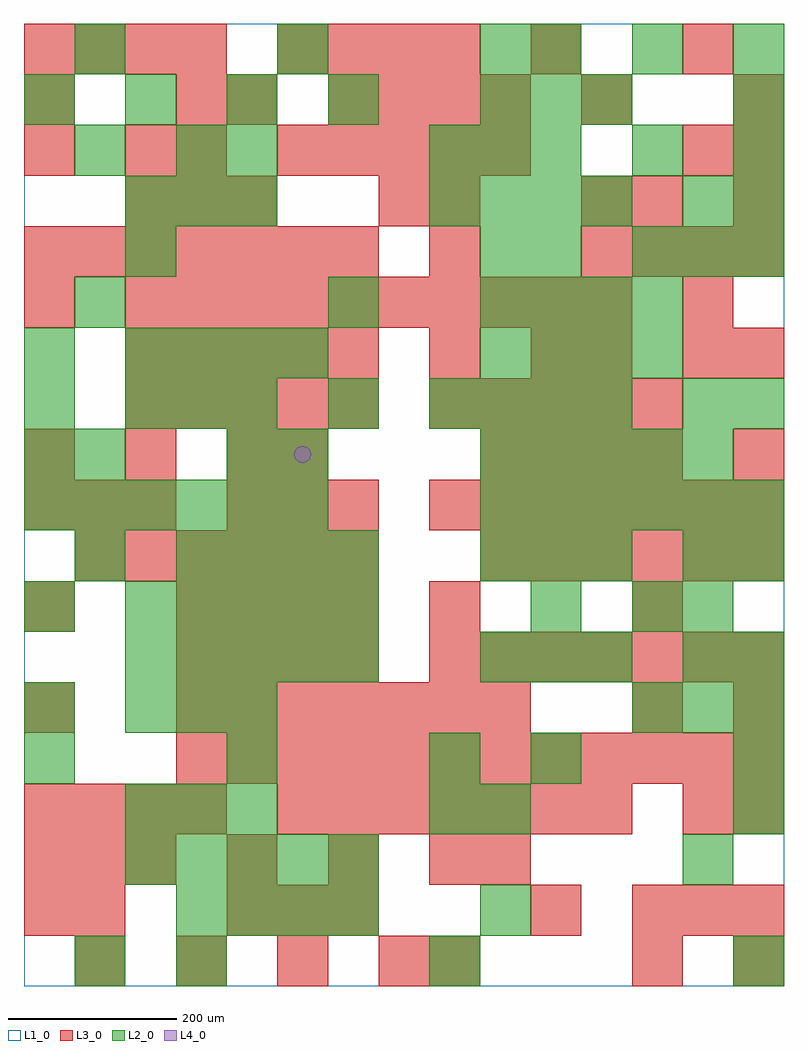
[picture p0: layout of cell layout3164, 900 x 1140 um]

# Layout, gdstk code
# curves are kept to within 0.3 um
import gdstk
lib = gdstk.Library(unit=1e-6, precision=1e-09)
def R(c, l, rs):  # rectangles x0, y0, x1, y1
    for r in rs: c.add(gdstk.rectangle(r[:2], r[2:], *l))
def A(c, l, x, y, w, h, nx, ny, dx, dy):  # array of equal rectangles
    R(c, l, [(x+i*dx, y+j*dy, x+i*dx+w, y+j*dy+h) for i in range(nx) for j in range(ny)])
def P(c, l, *ps):  # polygons
    for p in ps: c.add(gdstk.Polygon(p, *l))
L1_0 = (1, 0)
L2_0 = (2, 0)
L3_0 = (3, 0)
L4_0 = (4, 0)

layout3164 = lib.new_cell('layout3164')
R(layout3164, L1_0, [(0,0,900,1140)])
A(layout3164, L2_0, 180, 60, 60, 60, 4, 2, 60, 420)
A(layout3164, L2_0, 120, 120, 60, 60, 5, 2, 60, 240)
A(layout3164, L2_0, 120, 180, 60, 60, 3, 2, 60, 120)
A(layout3164, L2_0, 0, 240, 60, 60, 3, 1, 240, 0)
A(layout3164, L2_0, 840, 240, 60, 60, 1, 3, 0, 120)
A(layout3164, L2_0, 720, 300, 60, 60, 3, 2, 60, 540)
A(layout3164, L2_0, 540, 360, 60, 60, 3, 2, 60, 120)
A(layout3164, L2_0, 780, 360, 60, 60, 1, 3, 0, 60)
A(layout3164, L2_0, 120, 420, 60, 60, 5, 1, 60, 0)
A(layout3164, L2_0, 0, 540, 60, 60, 6, 1, 60, 0)
A(layout3164, L2_0, 540, 540, 60, 60, 6, 1, 60, 0)
A(layout3164, L2_0, 0, 600, 60, 60, 1, 3, 0, 60)
A(layout3164, L2_0, 60, 600, 60, 60, 1, 3, 0, 180)
A(layout3164, L2_0, 540, 600, 60, 60, 5, 1, 60, 0)
A(layout3164, L2_0, 120, 660, 60, 60, 3, 2, 60, 240)
A(layout3164, L2_0, 480, 660, 60, 60, 4, 2, 60, 240)
A(layout3164, L2_0, 120, 720, 60, 60, 4, 1, 60, 0)
A(layout3164, L2_0, 540, 720, 60, 60, 4, 2, 60, 60)
A(layout3164, L2_0, 840, 900, 60, 60, 1, 3, 0, 60)
A(layout3164, L2_0, 480, 960, 60, 60, 3, 1, 60, 0)
A(layout3164, L2_0, 0, 1020, 60, 60, 4, 1, 120, 0)
A(layout3164, L2_0, 540, 1020, 60, 60, 3, 1, 60, 0)
A(layout3164, L2_0, 60, 1080, 60, 60, 3, 1, 240, 0)
A(layout3164, L2_0, 600, 1080, 60, 60, 3, 1, 120, 0)
R(layout3164, L2_0, [(60,0,120,60), (180,0,240,60), (480,0,540,60), (840,0,900,60), (540,60,600,120), (780,120,840,180), (480,180,540,240), (540,180,600,240), (840,180,900,240), (600,240,660,300), (0,300,60,360), (0,420,60,480), (600,420,660,480), (720,420,780,480), (60,480,120,540), (240,600,300,660), (300,600,360,660), (360,660,420,720), (780,660,840,720), (840,660,900,720), (360,780,420,840), (120,840,180,900), (540,840,600,900), (600,840,660,900), (780,900,840,960), (180,960,240,1020), (240,960,300,1020), (720,960,780,1020)])
A(layout3164, L3_0, 60, 0, 60, 60, 4, 1, 120, 0)
A(layout3164, L3_0, 240, 60, 60, 60, 3, 2, 60, 480)
A(layout3164, L3_0, 720, 60, 60, 60, 3, 1, 60, 0)
A(layout3164, L3_0, 0, 120, 60, 60, 3, 2, 60, 420)
A(layout3164, L3_0, 240, 120, 60, 60, 3, 1, 120, 0)
A(layout3164, L3_0, 0, 180, 60, 60, 4, 2, 60, 900)
A(layout3164, L3_0, 300, 180, 60, 60, 7, 1, 60, 0)
A(layout3164, L3_0, 180, 240, 60, 60, 12, 1, 60, 0)
A(layout3164, L3_0, 180, 300, 60, 60, 7, 1, 60, 0)
A(layout3164, L3_0, 180, 360, 60, 60, 4, 2, 60, 60)
A(layout3164, L3_0, 480, 360, 60, 60, 7, 2, 60, 180)
A(layout3164, L3_0, 60, 480, 60, 60, 6, 1, 60, 0)
A(layout3164, L3_0, 540, 480, 60, 60, 6, 1, 60, 0)
A(layout3164, L3_0, 0, 600, 60, 60, 3, 1, 120, 0)
A(layout3164, L3_0, 540, 600, 60, 60, 4, 1, 60, 0)
A(layout3164, L3_0, 120, 660, 60, 60, 5, 2, 60, 60)
A(layout3164, L3_0, 480, 660, 60, 60, 5, 1, 60, 0)
A(layout3164, L3_0, 120, 780, 60, 60, 10, 1, 60, 0)
A(layout3164, L3_0, 0, 840, 60, 60, 7, 1, 60, 0)
A(layout3164, L3_0, 660, 840, 60, 60, 4, 1, 60, 0)
A(layout3164, L3_0, 120, 900, 60, 60, 3, 1, 60, 0)
A(layout3164, L3_0, 840, 900, 60, 60, 1, 3, 0, 60)
A(layout3164, L3_0, 300, 960, 60, 60, 5, 1, 60, 0)
A(layout3164, L3_0, 360, 1020, 60, 60, 4, 1, 60, 0)
A(layout3164, L3_0, 300, 1080, 60, 60, 4, 1, 60, 0)
R(layout3164, L3_0, [(480,0,540,60), (720,0,780,60), (840,0,900,60), (0,60,60,120), (60,60,120,120), (600,60,660,120), (540,120,600,180), (780,180,840,240), (840,180,900,240), (0,300,60,360), (720,300,780,360), (840,300,900,360), (0,420,60,480), (480,420,540,480), (720,420,780,480), (300,600,360,660), (840,600,900,660), (480,720,540,780), (600,720,660,780), (660,720,720,780), (780,720,840,780), (840,720,900,780), (0,780,60,840), (780,780,840,840), (480,840,540,900), (420,900,480,960), (480,900,540,960), (660,900,720,960), (720,900,780,960), (0,960,60,1020), (120,960,180,1020), (180,960,240,1020), (780,960,840,1020), (0,1020,60,1080), (180,1020,240,1080), (240,1020,300,1080), (660,1020,720,1080), (600,1080,660,1140), (780,1080,840,1140)])
P(layout3164, L4_0, [(340,630),(339.239,633.827),(337.071,637.071),(333.827,639.239),(330,640),(326.173,639.239),(322.929,637.071),(320.761,633.827),(320,630),(320.761,626.173),(322.929,622.929),(326.173,620.761),(330,620),(333.827,620.761),(337.071,622.929),(339.239,626.173)])

lib.write_gds('layout3164.gds')
